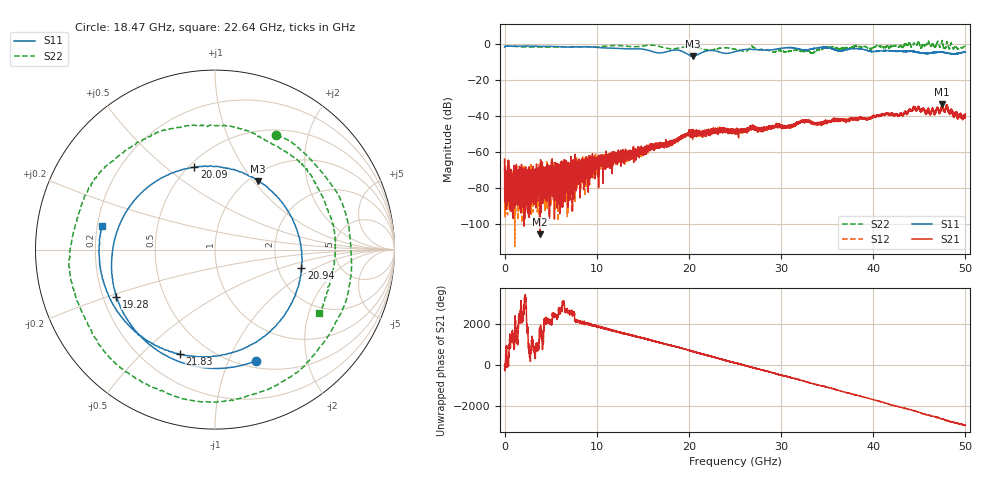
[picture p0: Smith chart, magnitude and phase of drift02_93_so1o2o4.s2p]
!Created with skrf (http://scikit-rf.org).
# Hz S RI R 50.0
!freq ReS11 ImS11 ReS21 ImS21 ReS12 ImS12 ReS22 ImS22
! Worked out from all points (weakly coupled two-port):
!   10001 points, 300 kHz to 50 GHz, reference 50 ohm
!   highest |S21| = -33.45 dB at 47.48 GHz (marker M1); lowest = -105.9 dB at 3.85 GHz (marker M2)
!   lowest |S11| = -6.9 dB at 20.41 GHz (marker M3), VSWR 2.64, Z = 55 + j52.6 ohm
!   |S11| at or under -10 dB: nowhere
!   |S22| runs from -5.4 to 1.7 dB; largest |S21 - S12| = 0.0029
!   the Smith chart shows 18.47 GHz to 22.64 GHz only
!   S11 on the Smith chart (normalised r, x): 18.47 GHz: 0.58, -1.26; 19.28 GHz: 0.25, -0.21; 20.09 GHz: 0.54, +0.63; 20.94 GHz: 2.71, -0.73; 21.83 GHz: 0.35, -0.66; 22.64 GHz: 0.22, +0.10
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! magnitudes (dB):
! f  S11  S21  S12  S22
! 300 kHz  -2.1  -64.2  -63.8  -1.3
! 265.3 MHz  -1.4  -81.1  -82.8  -1.4
! 3.85 GHz  -1.5  -105.9  -67.7  -2.0
! 6.055 GHz  -1.8  -77.1  -69.9  -1.9
! 8.335 GHz  -1.7  -65.2  -67.6  -1.9
! 16.67 GHz  -5.2  -55.3  -57.2  -1.4
! 18.47 GHz  -3.6  -54.6  -54.1  -2.8
! 19.28 GHz  -4.3  -51.6  -51.2  -2.1
! 20.09 GHz  -6.5  -51.3  -49.7  -1.5
! 20.41 GHz  -6.9  -49.1  -48.7  -1.7
! 20.94 GHz  -6.2  -49.9  -48.8  -2.2
! 21.83 GHz  -4.2  -50.5  -50.0  -3.5
! 22.64 GHz  -3.8  -48.6  -47.8  -3.3
! 25 GHz  -4.5  -49.2  -48.5  -3.2
! 26.11 GHz  -3.3  -48.3  -47.9  -4.3
! 26.91 GHz  -3.2  -47.5  -46.0  -1.6
! 33.34 GHz  -3.0  -44.2  -43.4  -5.2
! 34.89 GHz  -2.3  -43.0  -43.2  -2.1
! 41.67 GHz  -3.9  -38.7  -39.2  -2.1
! 44.64 GHz  -4.6  -37.1  -36.9  -0.6
! 47.48 GHz  -4.9  -33.4  -34.1  1.5
! 50 GHz  -4.7  -39.1  -40.6  -1.4
